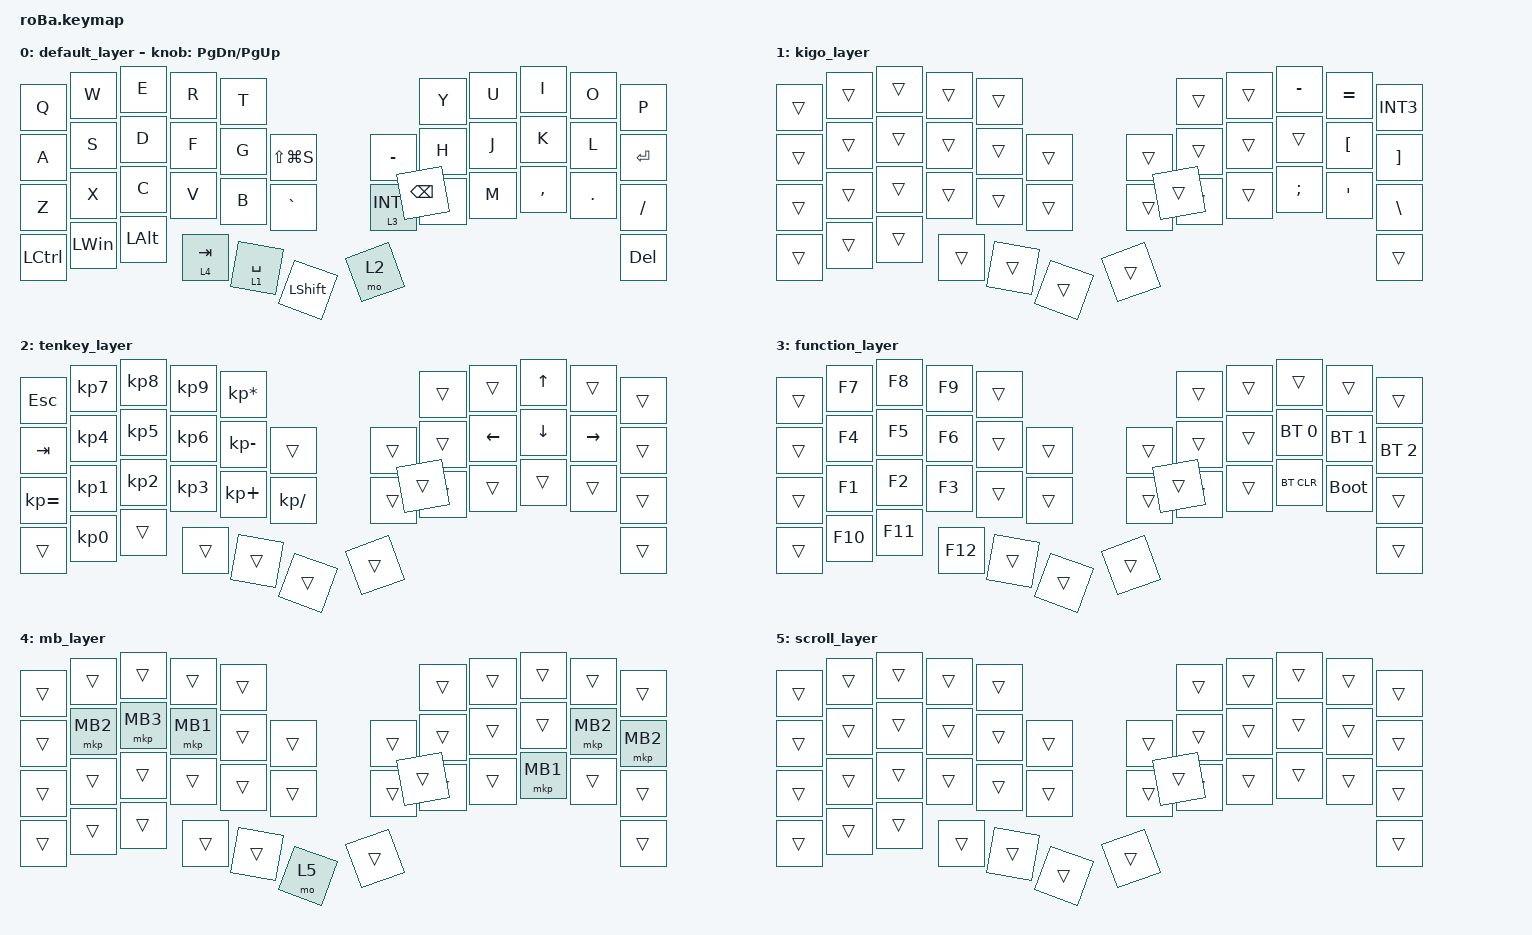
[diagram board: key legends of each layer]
#include <behaviors.dtsi>
#include <dt-bindings/zmk/bt.h>
#include <dt-bindings/zmk/keys.h>
#include <dt-bindings/zmk/pointing.h>

&mt {
    flavor = "balanced";
    quick-tap-ms = <0>;
};

&trackball {
    automouse-layer = <4>;
    scroll-layers = <5>;
};

/ {
    keymap {
        compatible = "zmk,keymap";

        default_layer {
            bindings = <
&kp Q      &kp W         &kp E         &kp R      &kp T                                              &kp Y       &kp U   &kp I      &kp O    &kp P
&kp A      &kp S         &kp D         &kp F      &kp G           &kp LS(LG(S))         &kp MINUS     &kp H       &kp J   &kp K      &kp L    &kp ENTER
&kp Z      &kp X         &kp C         &kp V      &kp B           &kp GRAVE             &lt 3 INT1    &kp N       &kp M   &kp COMMA  &kp DOT  &kp SLASH
&kp LCTRL  &kp LEFT_WIN  &kp LEFT_ALT  &lt 4 TAB  &lt 1 SPACE     &kp LEFT_SHIFT        &mo 2         &kp BSPC                               &kp DEL
            >;

            sensor-bindings = <&inc_dec_kp PAGE_DOWN PG_UP>;
        };

        kigo_layer {
            bindings = <
&trans  &trans  &trans  &trans  &trans                          &trans  &trans  &kp MINUS  &kp EQUAL  &kp INT3
&trans  &trans  &trans  &trans  &trans  &trans        &trans     &trans  &trans  &trans     &kp LBKT   &kp RBKT
&trans  &trans  &trans  &trans  &trans  &trans        &trans     &trans  &trans  &kp SEMI   &kp SQT    &kp BSLH
&trans  &trans  &trans  &trans  &trans  &trans        &trans     &trans                                &trans
            >;
        };

        tenkey_layer {
            bindings = <
&kp ESC       &kp KP_N7  &kp KP_N8  &kp KP_N9  &kp KP_MULTIPLY                                &trans  &trans    &kp UP    &trans     &trans
&kp TAB       &kp KP_N4  &kp KP_N5  &kp KP_N6  &kp KP_MINUS     &trans        &trans          &trans  &kp LEFT  &kp DOWN  &kp RIGHT  &trans
&kp KP_EQUAL  &kp KP_N1  &kp KP_N2  &kp KP_N3  &kp KP_PLUS      &kp KP_DIVIDE &trans          &trans  &trans    &trans    &trans     &trans
&trans        &kp KP_N0  &trans     &trans     &trans           &trans        &trans          &trans                                 &trans
            >;
        };

        function_layer {
            bindings = <
&trans  &kp F7   &kp F8   &kp F9   &trans                                    &trans  &trans  &trans        &trans        &trans
&trans  &kp F4   &kp F5   &kp F6   &trans  &trans        &trans     &trans  &trans  &bt BT_SEL 0  &bt BT_SEL 1  &bt BT_SEL 2
&trans  &kp F1   &kp F2   &kp F3   &trans  &trans        &trans     &trans  &trans  &bt BT_CLR    &bootloader   &trans
&trans  &kp F10  &kp F11  &kp F12  &trans  &trans        &trans     &trans                                      &trans
            >;
        };

        mb_layer {
            bindings = <
&trans  &trans    &trans    &trans    &trans                            &trans  &trans  &trans    &trans    &trans
&trans  &mkp MB2  &mkp MB3  &mkp MB1  &trans  &trans        &trans      &trans  &trans  &trans    &mkp MB2  &mkp MB2
&trans  &trans    &trans    &trans    &trans  &trans        &trans      &trans  &trans  &mkp MB1  &trans    &trans
&trans  &trans    &trans    &trans    &trans  &mo 5         &trans      &trans                              &trans
            >;
        };

        scroll_layer {
            bindings = <
&trans  &trans  &trans  &trans  &trans                        &trans  &trans  &trans  &trans  &trans
&trans  &trans  &trans  &trans  &trans  &trans        &trans  &trans  &trans  &trans  &trans  &trans
&trans  &trans  &trans  &trans  &trans  &trans        &trans  &trans  &trans  &trans  &trans  &trans
&trans  &trans  &trans  &trans  &trans  &trans        &trans  &trans                          &trans
            >;
        };
    };
};
